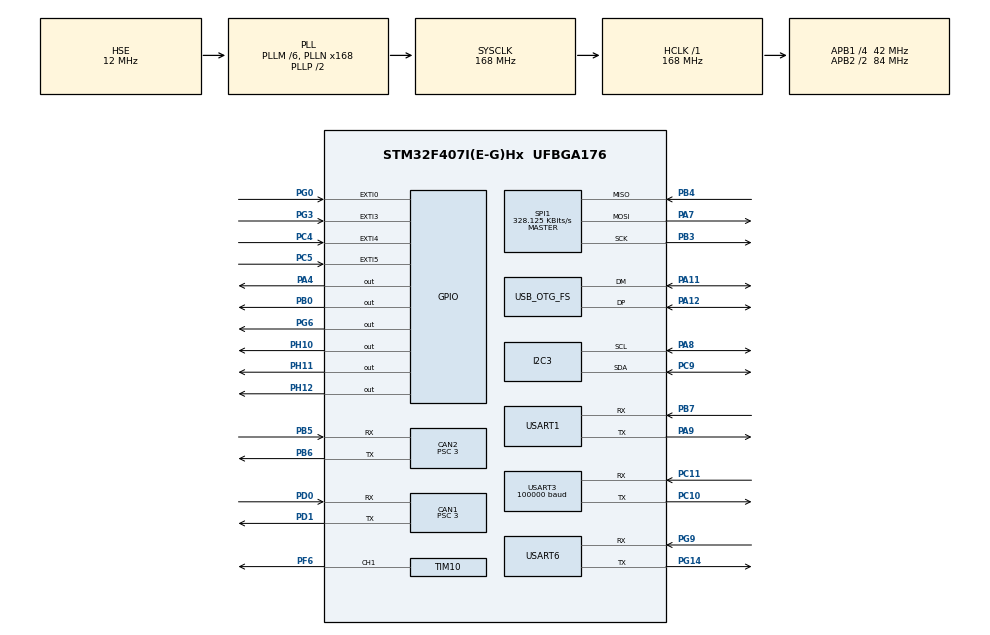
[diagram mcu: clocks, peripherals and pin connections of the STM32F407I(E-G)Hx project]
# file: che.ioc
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CAN1.BS1=CAN_BS1_10TQ
CAN1.BS2=CAN_BS2_3TQ
CAN1.CalculateBaudRate=1000000
CAN1.CalculateTimeBit=1000
CAN1.CalculateTimeQuantum=71.42857142857143
CAN1.Prescaler=3
CAN2.BS1=CAN_BS1_10TQ
CAN2.BS2=CAN_BS2_3TQ
CAN2.CalculateBaudRate=1000000
CAN2.CalculateTimeBit=1000
CAN2.CalculateTimeQuantum=71.42857142857143
CAN2.Prescaler=3
Dma.Request0=USART1_TX
Dma.Request1=USART3_RX
Dma.Request2=USART1_RX
Dma.Request3=SPI1_RX
Dma.Request4=SPI1_TX
Dma.Request5=USART6_RX
Dma.Request6=USART6_TX
Dma.SPI1_RX.3.Direction=DMA_PERIPH_TO_MEMORY
Dma.SPI1_RX.3.FIFOMode=DMA_FIFOMODE_DISABLE
Dma.SPI1_RX.3.Instance=DMA2_Stream2
Dma.SPI1_RX.3.MemDataAlignment=DMA_MDATAALIGN_BYTE
Dma.SPI1_RX.3.MemInc=DMA_MINC_ENABLE
Dma.SPI1_RX.3.Mode=DMA_NORMAL
Dma.SPI1_RX.3.PeriphDataAlignment=DMA_PDATAALIGN_BYTE
Dma.SPI1_RX.3.PeriphInc=DMA_PINC_DISABLE
Dma.SPI1_RX.3.Priority=DMA_PRIORITY_VERY_HIGH
Dma.SPI1_TX.4.Direction=DMA_MEMORY_TO_PERIPH
Dma.SPI1_TX.4.FIFOMode=DMA_FIFOMODE_DISABLE
Dma.SPI1_TX.4.Instance=DMA2_Stream3
Dma.SPI1_TX.4.MemDataAlignment=DMA_MDATAALIGN_BYTE
Dma.SPI1_TX.4.MemInc=DMA_MINC_ENABLE
Dma.SPI1_TX.4.Mode=DMA_NORMAL
Dma.SPI1_TX.4.PeriphDataAlignment=DMA_PDATAALIGN_BYTE
Dma.SPI1_TX.4.PeriphInc=DMA_PINC_DISABLE
Dma.SPI1_TX.4.Priority=DMA_PRIORITY_HIGH
Dma.USART1_RX.2.Direction=DMA_PERIPH_TO_MEMORY
Dma.USART1_RX.2.FIFOMode=DMA_FIFOMODE_DISABLE
Dma.USART1_RX.2.Instance=DMA2_Stream5
Dma.USART1_RX.2.MemDataAlignment=DMA_MDATAALIGN_BYTE
Dma.USART1_RX.2.MemInc=DMA_MINC_ENABLE
Dma.USART1_RX.2.Mode=DMA_CIRCULAR
Dma.USART1_RX.2.PeriphDataAlignment=DMA_PDATAALIGN_BYTE
Dma.USART1_RX.2.PeriphInc=DMA_PINC_DISABLE
Dma.USART1_RX.2.Priority=DMA_PRIORITY_VERY_HIGH
Dma.USART1_TX.0.Direction=DMA_MEMORY_TO_PERIPH
Dma.USART1_TX.0.FIFOMode=DMA_FIFOMODE_DISABLE
Dma.USART1_TX.0.Instance=DMA2_Stream7
Dma.USART1_TX.0.MemDataAlignment=DMA_MDATAALIGN_BYTE
Dma.USART1_TX.0.MemInc=DMA_MINC_ENABLE
Dma.USART1_TX.0.Mode=DMA_NORMAL
Dma.USART1_TX.0.PeriphDataAlignment=DMA_PDATAALIGN_BYTE
Dma.USART1_TX.0.PeriphInc=DMA_PINC_DISABLE
Dma.USART1_TX.0.Priority=DMA_PRIORITY_VERY_HIGH
Dma.USART3_RX.1.Direction=DMA_PERIPH_TO_MEMORY
Dma.USART3_RX.1.FIFOMode=DMA_FIFOMODE_DISABLE
Dma.USART3_RX.1.Instance=DMA1_Stream1
Dma.USART3_RX.1.MemDataAlignment=DMA_MDATAALIGN_BYTE
Dma.USART3_RX.1.MemInc=DMA_MINC_ENABLE
Dma.USART3_RX.1.Mode=DMA_CIRCULAR
Dma.USART3_RX.1.PeriphDataAlignment=DMA_PDATAALIGN_BYTE
Dma.USART3_RX.1.PeriphInc=DMA_PINC_DISABLE
Dma.USART3_RX.1.Priority=DMA_PRIORITY_HIGH
Dma.USART6_RX.5.Direction=DMA_PERIPH_TO_MEMORY
Dma.USART6_RX.5.FIFOMode=DMA_FIFOMODE_DISABLE
Dma.USART6_RX.5.Instance=DMA2_Stream1
Dma.USART6_RX.5.MemDataAlignment=DMA_MDATAALIGN_BYTE
Dma.USART6_RX.5.MemInc=DMA_MINC_ENABLE
Dma.USART6_RX.5.Mode=DMA_CIRCULAR
Dma.USART6_RX.5.PeriphDataAlignment=DMA_PDATAALIGN_BYTE
Dma.USART6_RX.5.PeriphInc=DMA_PINC_DISABLE
Dma.USART6_RX.5.Priority=DMA_PRIORITY_HIGH
Dma.USART6_TX.6.Direction=DMA_MEMORY_TO_PERIPH
Dma.USART6_TX.6.FIFOMode=DMA_FIFOMODE_DISABLE
Dma.USART6_TX.6.Instance=DMA2_Stream6
Dma.USART6_TX.6.MemDataAlignment=DMA_MDATAALIGN_BYTE
Dma.USART6_TX.6.MemInc=DMA_MINC_ENABLE
Dma.USART6_TX.6.Mode=DMA_NORMAL
Dma.USART6_TX.6.PeriphDataAlignment=DMA_PDATAALIGN_BYTE
Dma.USART6_TX.6.PeriphInc=DMA_PINC_DISABLE
Dma.USART6_TX.6.Priority=DMA_PRIORITY_VERY_HIGH
FREERTOS.INCLUDE_eTaskGetState=1
FREERTOS.INCLUDE_pcTaskGetTaskName=1
FREERTOS.INCLUDE_uxTaskGetStackHighWaterMark=1
FREERTOS.INCLUDE_uxTaskGetStackHighWaterMark2=1
FREERTOS.INCLUDE_vTaskCleanUpResources=1
FREERTOS.INCLUDE_vTaskDelayUntil=1
FREERTOS.INCLUDE_xQueueGetMutexHolder=1
FREERTOS.INCLUDE_xSemaphoreGetMutexHolder=1
FREERTOS.INCLUDE_xTaskAbortDelay=1
FREERTOS.INCLUDE_xTaskGetCurrentTaskHandle=1
FREERTOS.INCLUDE_xTaskGetHandle=1
FREERTOS.Tasks01=LED,0,128,led_task,As weak,NULL,Dynamic,NULL,NULL;IMUTask,3,1024,IMUFun,As weak,NULL,Dynamic,NULL,NULL;ChassisTask,2,128,ChassisFun,As weak,NULL,Dynamic,NULL,NULL;GimbalTask,2,128,GimbalFun,As weak,NULL,Dynamic,NULL,NULL;ShootTask,2,128,ShootFun,As weak,NULL,Dynamic,NULL,NULL
I2C3.I2C_Mode=I2C_Fast
Mcu.Family=STM32F4
Mcu.Name=STM32F407I(E-G)Hx
Mcu.Package=UFBGA176
NVIC.CAN1_RX0_IRQn=true\:5\:0\:false\:false\:true\:true\:true\:true\:true
NVIC.CAN2_RX0_IRQn=true\:5\:0\:false\:false\:true\:true\:true\:true\:true
NVIC.DMA1_Stream1_IRQn=true\:5\:0\:false\:false\:true\:true\:false\:true\:true
NVIC.DMA2_Stream1_IRQn=true\:5\:0\:false\:false\:true\:true\:false\:true\:true
NVIC.DMA2_Stream2_IRQn=true\:5\:0\:false\:false\:true\:true\:false\:true\:true
NVIC.DMA2_Stream3_IRQn=true\:5\:0\:false\:false\:true\:true\:false\:true\:true
NVIC.DMA2_Stream5_IRQn=true\:5\:0\:false\:false\:true\:false\:false\:true\:true
NVIC.DMA2_Stream6_IRQn=true\:5\:0\:false\:false\:true\:true\:false\:true\:true
NVIC.DMA2_Stream7_IRQn=true\:5\:0\:false\:false\:true\:true\:false\:true\:true
NVIC.EXTI0_IRQn=true\:5\:0\:false\:false\:true\:false\:true\:true\:true
NVIC.EXTI4_IRQn=true\:5\:0\:false\:false\:true\:false\:true\:true\:true
NVIC.EXTI9_5_IRQn=true\:5\:0\:false\:false\:true\:false\:true\:true\:true
NVIC.OTG_FS_IRQn=true\:5\:0\:false\:false\:true\:true\:true\:true\:true
NVIC.PriorityGroup=NVIC_PRIORITYGROUP_4
NVIC.TIM2_IRQn=true\:15\:0\:false\:false\:true\:false\:false\:true\:true
NVIC.TIM3_IRQn=true\:5\:0\:false\:false\:true\:true\:true\:true\:true
NVIC.TimeBase=TIM2_IRQn
NVIC.TimeBaseIP=TIM2
NVIC.USART1_IRQn=true\:5\:0\:false\:false\:true\:true\:true\:true\:true
NVIC.USART3_IRQn=true\:5\:0\:false\:false\:true\:true\:true\:true\:true
NVIC.USART6_IRQn=true\:5\:0\:false\:false\:true\:true\:true\:true\:true
PA11.Mode=Device_Only
PA11.Signal=USB_OTG_FS_DM
PA12.Mode=Device_Only
PA12.Signal=USB_OTG_FS_DP
PA13.Mode=Serial_Wire
PA13.Signal=SYS_JTMS-SWDIO
PA14.Mode=Serial_Wire
PA14.Signal=SYS_JTCK-SWCLK
PA4.GPIO_PuPd=GPIO_PULLUP
PA4.GPIO_Speed=GPIO_SPEED_FREQ_HIGH
PA4.PinState=GPIO_PIN_SET
PA4.Signal=GPIO_Output
PA7.GPIO_PuPd=GPIO_PULLUP
PA7.Mode=Full_Duplex_Master
PA7.Signal=SPI1_MOSI
PA8.GPIO_Pu=GPIO_PULLUP
PA8.Mode=I2C
PA8.Signal=I2C3_SCL
PA9.Mode=Asynchronous
PA9.Signal=USART1_TX
PB0.GPIO_PuPd=GPIO_PULLUP
PB0.GPIO_Speed=GPIO_SPEED_FREQ_HIGH
PB0.PinState=GPIO_PIN_SET
PB0.Signal=GPIO_Output
PB3.GPIO_PuPd=GPIO_PULLUP
PB3.Mode=Full_Duplex_Master
PB3.Signal=SPI1_SCK
PB4.GPIO_PuPd=GPIO_PULLUP
PB4.Mode=Full_Duplex_Master
PB4.Signal=SPI1_MISO
PB5.Mode=CAN_Activate
PB5.Signal=CAN2_RX
PB6.Mode=CAN_Activate
PB6.Signal=CAN2_TX
PB7.Mode=Asynchronous
PB7.Signal=USART1_RX
PC10.GPIO_PuPd=GPIO_PULLUP
PC10.Mode=Asynchronous
PC10.Signal=USART3_TX
PC11.GPIO_PuPd=GPIO_PULLUP
PC11.Mode=Asynchronous
PC11.Signal=USART3_RX
PC4.GPIO_PuPd=GPIO_PULLUP
PC4.Signal=GPXTI4
PC5.GPIO_PuPd=GPIO_PULLUP
PC5.Signal=GPXTI5
PC9.GPIO_Pu=GPIO_PULLUP
PC9.Mode=I2C
PC9.Signal=I2C3_SDA
PD0.Mode=CAN_Activate
PD0.Signal=CAN1_RX
PD1.Mode=CAN_Activate
PD1.Signal=CAN1_TX
PF6.GPIO_PuPd=GPIO_PULLUP
PF6.GPIO_Speed=GPIO_SPEED_FREQ_VERY_HIGH
PF6.Signal=S_TIM10_CH1
PG0.GPIO_PuPd=GPIO_PULLUP
PG0.Signal=GPXTI0
PG14.Mode=Asynchronous
PG14.Signal=USART6_TX
PG3.GPIO_PuPd=GPIO_PULLUP
PG3.Signal=GPXTI3
PG6.GPIO_PuPd=GPIO_PULLUP
PG6.GPIO_Speed=GPIO_SPEED_FREQ_MEDIUM
PG6.PinState=GPIO_PIN_SET
PG6.Signal=GPIO_Output
PG9.Mode=Asynchronous
PG9.Signal=USART6_RX
PH0-OSC_IN.Mode=HSE-External-Oscillator
PH0-OSC_IN.Signal=RCC_OSC_IN
PH1-OSC_OUT.Mode=HSE-External-Oscillator
PH1-OSC_OUT.Signal=RCC_OSC_OUT
PH10.PinState=GPIO_PIN_SET
PH10.Signal=GPIO_Output
PH11.PinState=GPIO_PIN_SET
PH11.Signal=GPIO_Output
PH12.PinState=GPIO_PIN_SET
PH12.Signal=GPIO_Output
ProjectManager.HeapSize=0x200
ProjectManager.StackSize=0x400
ProjectManager.TargetToolchain=MDK-ARM V5
RCC.48MHZClocksFreq_Value=48000000
RCC.AHBFreq_Value=168000000
RCC.APB1CLKDivider=RCC_HCLK_DIV4
RCC.APB1Freq_Value=42000000
RCC.APB1TimFreq_Value=84000000
RCC.APB2CLKDivider=RCC_HCLK_DIV2
RCC.APB2Freq_Value=84000000
RCC.APB2TimFreq_Value=168000000
RCC.CortexFreq_Value=168000000
RCC.HCLKFreq_Value=168000000
RCC.HSE_VALUE=12000000
RCC.HSI_VALUE=16000000
RCC.LSE_VALUE=32768
RCC.PLLM=6
RCC.PLLN=168
RCC.PLLQ=7
RCC.SYSCLKFreq_VALUE=168000000
RCC.SYSCLKSource=RCC_SYSCLKSOURCE_PLLCLK
RCC.VCOOutputFreq_Value=336000000
SH.S_TIM10_CH1.0=TIM10_CH1,PWM Generation1 CH1
SPI1.BaudRatePrescaler=SPI_BAUDRATEPRESCALER_256
SPI1.CLKPhase=SPI_PHASE_2EDGE
SPI1.CLKPolarity=SPI_POLARITY_HIGH
SPI1.CalculateBaudRate=328.125 KBits/s
SPI1.Direction=SPI_DIRECTION_2LINES
SPI1.Mode=SPI_MODE_MASTER
SPI1.VirtualType=VM_MASTER
STMicroelectronics.X-CUBE-ALGOBUILD.1.4.0.LibraryCcDSPOoLibraryJjDSPOoLibrary=true
TIM10.Channel=TIM_CHANNEL_1
TIM10.Period=4999
TIM3.AutoReloadPreload=TIM_AUTORELOAD_PRELOAD_ENABLE
TIM3.Period=10000-1
TIM3.Prescaler=16800-1
USART1.Parity=PARITY_EVEN
USART1.VirtualMode=VM_ASYNC
USART3.BaudRate=100000
USART3.Parity=PARITY_EVEN
USART3.VirtualMode=VM_ASYNC
USART6.VirtualMode=VM_ASYNC
USB_DEVICE.CLASS_NAME_FS=CDC
USB_DEVICE.VirtualMode-CDC_FS=Cdc
USB_DEVICE.VirtualModeFS=Cdc_FS
USB_OTG_FS.VirtualMode=Device_Only
VP_FREERTOS_VS_CMSIS_V1.Mode=CMSIS_V1
VP_STMicroelectronics.X-CUBE-ALGOBUILD_VS_DSPOoLibraryJjLibrary_1.4.0_1.4.0.Mode=DSPOoLibraryJjLibrary
VP_SYS_VS_tim2.Mode=TIM2
VP_TIM10_VS_ClockSourceINT.Mode=Enable_Timer
VP_TIM3_VS_ClockSourceINT.Mode=Internal
VP_USB_DEVICE_VS_USB_DEVICE_CDC_FS.Mode=CDC_FS
board=custom

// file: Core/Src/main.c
/* USER CODE BEGIN Header */
/**
  ******************************************************************************
  * @file           : main.c
  * @brief          : Main program body
  ******************************************************************************
  * @attention
  *
  * Copyright (c) 2024 STMicroelectronics.
  * All rights reserved.
  *
  * This software is licensed under terms that can be found in the LICENSE file
  * in the root directory of this software component.
  * If no LICENSE file comes with this software, it is provided AS-IS.
  *
  ******************************************************************************
  */
/* USER CODE END Header */
#include "main.h"
#include "cmsis_os.h"
#include "can.h"
#include "dma.h"
#include "i2c.h"
#include "spi.h"
#include "tim.h"
#include "usart.h"
#include "usb_device.h"
#include "gpio.h"

/* USER CODE BEGIN Includes */
#include "BSP_CAN.h"
#include "dbus.h"
#include "pid.h"
#include "vision.h"
#include  "usbd_cdc_if.h"
#include "judge.h"
/* USER CODE END Includes */

void SystemClock_Config(void);
void MX_FREERTOS_Init(void);

int main(void)
{

  /* USER CODE BEGIN 1 */

//																																								��Ϊ��̨���񣡣�������������������������������������������������������������������������

  /* USER CODE END 1 */

  /* MCU Configuration--------------------------------------------------------*/

  /* Reset of all peripherals, Initializes the Flash interface and the Systick. */
  HAL_Init();

  /* Configure the system clock */
  SystemClock_Config();

  /* Initialize all configured peripherals */
  MX_GPIO_Init();
  MX_DMA_Init();
  MX_CAN1_Init();
  MX_CAN2_Init();
  MX_USART1_UART_Init();
  MX_USART3_UART_Init();
  MX_SPI1_Init();
  MX_I2C3_Init();
  MX_TIM10_Init();
  MX_TIM3_Init();
  MX_USART6_UART_Init();
  /* USER CODE BEGIN 2 */
	MX_USB_DEVICE_Init();

	dbus_uart_init();

	__HAL_UART_ENABLE_IT(&huart6, UART_IT_IDLE);//ʹ��idle�ж�,���ڲ���ϵͳ��ȡ
	HAL_UART_Receive_DMA(&huart6,judge_rx_buff,2000);//��DMA���գ����ݴ���rx_buffer_judge������

	HAL_TIM_Base_Start_IT(&htim3);
	my_can_filter_init_recv_all(&hcan1);
	HAL_CAN_Start(&hcan1);
	HAL_CAN_ActivateNotification(&hcan1,CAN_IT_RX_FIFO0_MSG_PENDING);
	my_can_filter_init_recv_all(&hcan2);
	HAL_CAN_Start(&hcan2);
	HAL_CAN_ActivateNotification(&hcan2,CAN_IT_RX_FIFO0_MSG_PENDING);

  /* USER CODE END 2 */

  /* Call init function for freertos objects (in cmsis_os2.c) */
  MX_FREERTOS_Init();

  /* Start scheduler */
  osKernelStart();

  /* We should never get here as control is now taken by the scheduler */

  /* Infinite loop */
  /* USER CODE BEGIN WHILE */
  while (1)
  {
	HAL_GPIO_TogglePin(GPIOH, GPIO_PIN_10);
	HAL_GPIO_TogglePin(GPIOH, GPIO_PIN_11);
	HAL_GPIO_TogglePin(GPIOH, GPIO_PIN_12);
	HAL_Delay(500);
		//Motor_enable();
	//CDC_Transmit_FS((uint8_t*)"hello\r\n",7);
	//CDC_Transmit_FS((uint8_t*)"���Ǯ\r\n",8);
	vision_receive_test();
    /* USER CODE END WHILE */

  }
}

void SystemClock_Config(void)
{
  RCC_OscInitTypeDef RCC_OscInitStruct = {0};
  RCC_ClkInitTypeDef RCC_ClkInitStruct = {0};

  /** Configure the main internal regulator output voltage
  */
  __HAL_RCC_PWR_CLK_ENABLE();
  __HAL_PWR_VOLTAGESCALING_CONFIG(PWR_REGULATOR_VOLTAGE_SCALE1);

  /** Initializes the RCC Oscillators according to the specified parameters
  * in the RCC_OscInitTypeDef structure.
  */
  RCC_OscInitStruct.OscillatorType = RCC_OSCILLATORTYPE_HSE;
  RCC_OscInitStruct.HSEState = RCC_HSE_ON;
  RCC_OscInitStruct.PLL.PLLState = RCC_PLL_ON;
  RCC_OscInitStruct.PLL.PLLSource = RCC_PLLSOURCE_HSE;
  RCC_OscInitStruct.PLL.PLLM = 6;
  RCC_OscInitStruct.PLL.PLLN = 168;
  RCC_OscInitStruct.PLL.PLLP = RCC_PLLP_DIV2;
  RCC_OscInitStruct.PLL.PLLQ = 7;
  if (HAL_RCC_OscConfig(&RCC_OscInitStruct) != HAL_OK)
  {
    Error_Handler();
  }

  /** Initializes the CPU, AHB and APB buses clocks
  */
  RCC_ClkInitStruct.ClockType = RCC_CLOCKTYPE_HCLK|RCC_CLOCKTYPE_SYSCLK
                              |RCC_CLOCKTYPE_PCLK1|RCC_CLOCKTYPE_PCLK2;
  RCC_ClkInitStruct.SYSCLKSource = RCC_SYSCLKSOURCE_PLLCLK;
  RCC_ClkInitStruct.AHBCLKDivider = RCC_SYSCLK_DIV1;
  RCC_ClkInitStruct.APB1CLKDivider = RCC_HCLK_DIV4;
  RCC_ClkInitStruct.APB2CLKDivider = RCC_HCLK_DIV2;

  if (HAL_RCC_ClockConfig(&RCC_ClkInitStruct, FLASH_LATENCY_5) != HAL_OK)
  {
    Error_Handler();
  }
}

/* USER CODE BEGIN 4 */
void AngleLoop_f (float* angle ,float max){
	while((*angle<-(max/2)) ||(*angle>(max/2)))
	{
		if(*angle<-(max/2))
		{
			*angle+=max;
		}
		else if(*angle>(max/2))
		{
			*angle-=max;
		}
  }
}
uint16_t chassis_task_frequent = 0;
     uint16_t  CAN_RX_data_Frequent = 0 ;
     uint16_t  CAN_RX_data_add = 0;
     uint16_t shoot_task_frequent = 0 ;
     uint16_t shoot_task_add = 0;
     uint16_t IMU_task_frequent = 0;
     uint16_t IMU_task_add = 0;
     uint16_t cap_add=0;
     uint16_t cap_frequent=0;
/* USER CODE END 4 */

void HAL_TIM_PeriodElapsedCallback(TIM_HandleTypeDef *htim)
{
  if (htim->Instance == TIM2) {
    HAL_IncTick();
  }
}

void Error_Handler(void)
{
  __disable_irq();
  while (1)
  {
  }
}

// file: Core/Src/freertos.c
/* USER CODE BEGIN Header */
/**
  ******************************************************************************
  * File Name          : freertos.c
  * Description        : Code for freertos applications
  ******************************************************************************
  * @attention
  *
  * Copyright (c) 2024 STMicroelectronics.
  * All rights reserved.
  *
  * This software is licensed under terms that can be found in the LICENSE file
  * in the root directory of this software component.
  * If no LICENSE file comes with this software, it is provided AS-IS.
  *
  ******************************************************************************
  */
/* USER CODE END Header */

#include "FreeRTOS.h"
#include "task.h"
#include "main.h"
#include "cmsis_os.h"

osThreadId LEDHandle;
osThreadId IMUTaskHandle;
osThreadId ChassisTaskHandle;
osThreadId GimbalTaskHandle;
osThreadId ShootTaskHandle;

void led_task(void const * argument);
void IMUFun(void const * argument);
void ChassisFun(void const * argument);
void GimbalFun(void const * argument);
void ShootFun(void const * argument);

extern void MX_USB_DEVICE_Init(void);
void MX_FREERTOS_Init(void); /* (MISRA C 2004 rule 8.1) */

/* GetIdleTaskMemory prototype (linked to static allocation support) */
void vApplicationGetIdleTaskMemory( StaticTask_t **ppxIdleTaskTCBBuffer, StackType_t **ppxIdleTaskStackBuffer, uint32_t *pulIdleTaskStackSize );

/* USER CODE BEGIN GET_IDLE_TASK_MEMORY */
static StaticTask_t xIdleTaskTCBBuffer;
static StackType_t xIdleStack[configMINIMAL_STACK_SIZE];

void vApplicationGetIdleTaskMemory( StaticTask_t **ppxIdleTaskTCBBuffer, StackType_t **ppxIdleTaskStackBuffer, uint32_t *pulIdleTaskStackSize )
{
  *ppxIdleTaskTCBBuffer = &xIdleTaskTCBBuffer;
  *ppxIdleTaskStackBuffer = &xIdleStack[0];
  *pulIdleTaskStackSize = configMINIMAL_STACK_SIZE;
  /* place for user code */
}
/* USER CODE END GET_IDLE_TASK_MEMORY */

void MX_FREERTOS_Init(void) {

  /* Create the thread(s) */
  /* definition and creation of LED */
  osThreadDef(LED, led_task, osPriorityNormal, 0, 128);
  LEDHandle = osThreadCreate(osThread(LED), NULL);

  /* definition and creation of IMUTask */
  osThreadDef(IMUTask, IMUFun, osPriorityRealtime, 0, 1024);
  IMUTaskHandle = osThreadCreate(osThread(IMUTask), NULL);

  /* definition and creation of ChassisTask */
  osThreadDef(ChassisTask, ChassisFun, osPriorityHigh, 0, 128);
  ChassisTaskHandle = osThreadCreate(osThread(ChassisTask), NULL);

  /* definition and creation of GimbalTask */
  osThreadDef(GimbalTask, GimbalFun, osPriorityHigh, 0, 128);
  GimbalTaskHandle = osThreadCreate(osThread(GimbalTask), NULL);

  /* definition and creation of ShootTask */
  osThreadDef(ShootTask, ShootFun, osPriorityHigh, 0, 128);
  ShootTaskHandle = osThreadCreate(osThread(ShootTask), NULL);

}

__weak void led_task(void const * argument)
{
  /* init code for USB_DEVICE */
  MX_USB_DEVICE_Init();
  for(;;)
  {
    osDelay(1);
  }
}

__weak void IMUFun(void const * argument)
{
  for(;;)
  {
    osDelay(1);
  }
}

__weak void ChassisFun(void const * argument)
{
  for(;;)
  {
    osDelay(1);
  }
}

__weak void GimbalFun(void const * argument)
{
  for(;;)
  {
    osDelay(1);
  }
}

__weak void ShootFun(void const * argument)
{
  for(;;)
  {
    osDelay(1);
  }
}
